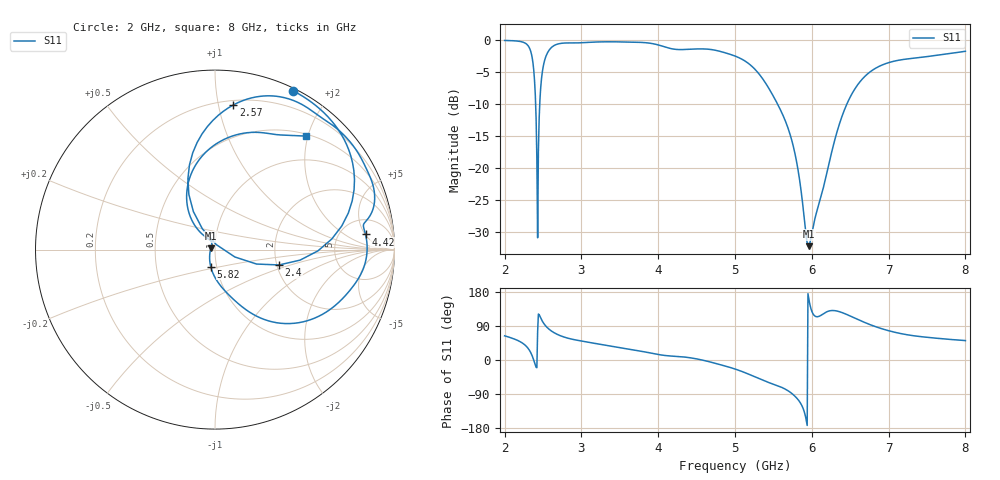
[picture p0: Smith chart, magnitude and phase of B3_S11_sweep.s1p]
! Generated by Hertzon (EMerge FEM)
# HZ S RI R 50
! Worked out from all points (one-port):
!   601 points, 2 GHz to 8 GHz, reference 50 ohm
!   lowest |S11| = -32.2 dB at 5.96 GHz (marker M1), VSWR 1.05, Z = 47.7 + j0.695 ohm
!   |S11| at or under -10 dB: 2.404 GHz to 2.458 GHz (54.16 MHz wide, 2.23 % of centre); 5.552 GHz to 6.458 GHz (905.7 MHz wide, 15.1 % of centre)
!   S11 on the Smith chart (normalised r, x): 2 GHz: 0.02, +1.61; 2.4 GHz: 2.06, -0.41; 2.57 GHz: 0.23, +1.11; 4.42 GHz: 9, +5; 5.82 GHz: 0.94, -0.18; 8 GHz: 0.53, +1.97
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2e9  0.4354 0.8848
2.21e9  0.6539 0.712
2.32e9  0.7772 0.3902
2.37e9  0.6509 0.0593
2.39e9  0.4743 -0.0585
2.4e9  0.357 -0.0856
2.42e9  0.1107 -0.0411
2.44e9  -0.0704 0.1157
2.46e9  -0.1456 0.3068
2.47e9  -0.151 0.3945
2.51e9  -0.0724 0.6442
2.57e9  0.1024 0.8061
2.75e9  0.437 0.8307
3.5e9  0.8096 0.5176
3.9e9  0.8897 0.2952
4.25e9  0.827 0.1374
4.42e9  0.8387 0.0844
4.71e9  0.8282 -0.1013
5e9  0.6824 -0.3003
5.32e9  0.3448 -0.4076
5.75e9  -6.12e-05 -0.1552
5.82e9  -0.024 -0.0942
5.96e9  -0.0235 0.00728
6.32e9  -0.1169 0.1416
6.5e9  -0.1571 0.3204
6.84e9  0.0288 0.6027
7.25e9  0.2845 0.6489
8e9  0.5083 0.6336
